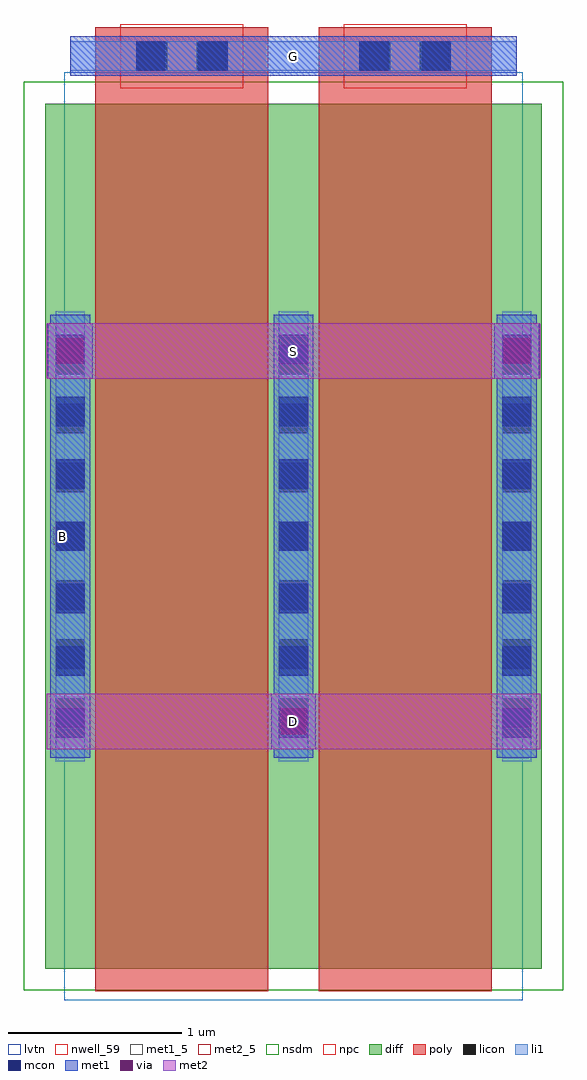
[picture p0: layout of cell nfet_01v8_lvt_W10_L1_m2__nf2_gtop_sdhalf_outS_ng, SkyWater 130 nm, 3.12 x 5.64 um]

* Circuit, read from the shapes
.subckt nfet_01v8_lvt_W10_L1_m2__nf2_gtop_sdhalf_outS_ng B D G S
XM1 D G S B sky130_fd_pr__nfet_01v8_lvt w=5 l=1 m=2
.ends

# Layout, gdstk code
import gdstk
lib = gdstk.Library(unit=1e-6, precision=1e-09)
def R(c, l, rs):  # rectangles x0, y0, x1, y1
    for r in rs: c.add(gdstk.rectangle(r[:2], r[2:], *l))
def A(c, l, x, y, w, h, nx, ny, dx, dy):  # array of equal rectangles
    R(c, l, [(x+i*dx, y+j*dy, x+i*dx+w, y+j*dy+h) for i in range(nx) for j in range(ny)])
nwell_59 = (64, 59)
diff = (65, 20)
poly = (66, 20)
licon = (66, 44)
li1 = (67, 20)
mcon = (67, 44)
met1_5 = (68, 5)
met1 = (68, 20)
via = (68, 44)
met2_5 = (69, 5)
met2 = (69, 20)
nsdm = (93, 44)
npc = (95, 20)
lvtn = (125, 44)

sky130_fd_pr__nfet_01v8_ = lib.new_cell('sky130_fd_pr__nfet_01v8_lvt_LUTFXC')
R(sky130_fd_pr__nfet_01v8_, diff, [(-1.435,-2.655,1.435,2.345)])
R(sky130_fd_pr__nfet_01v8_, poly, [(-1.145,-2.785,-0.145,2.785), (0.145,-2.785,1.145,2.785)])
A(sky130_fd_pr__nfet_01v8_, licon, -1.375, -1.26, 0.17, 0.17, 3, 7, 1.29, 0.34)
R(sky130_fd_pr__nfet_01v8_, licon, [(-0.9,2.535,-0.73,2.705), (-0.56,2.535,-0.39,2.705), (0.39,2.535,0.56,2.705), (0.73,2.535,0.9,2.705)])
A(sky130_fd_pr__nfet_01v8_, li1, -1.375, -1.455, 0.17, 2.6, 3, 1, 1.29, 0)
R(sky130_fd_pr__nfet_01v8_, li1, [(-1.29,2.535,1.29,2.705)])
A(sky130_fd_pr__nfet_01v8_, mcon, -1.375, -1.32, 0.17, 0.17, 3, 7, 1.29, 0.36)
R(sky130_fd_pr__nfet_01v8_, mcon, [(-0.91,2.535,-0.74,2.705), (-0.55,2.535,-0.38,2.705), (0.38,2.535,0.55,2.705), (0.74,2.535,0.91,2.705)])
A(sky130_fd_pr__nfet_01v8_, met1, -1.405, -1.435, 0.23, 2.56, 3, 1, 1.29, 0)
R(sky130_fd_pr__nfet_01v8_, met1, [(-1.125,2.505,-0.165,2.535), (0.165,2.505,1.125,2.535), (-1.29,2.535,1.29,2.705), (-1.125,2.705,-0.165,2.735), (0.165,2.705,1.125,2.735)])
R(sky130_fd_pr__nfet_01v8_, nsdm, [(-1.56,-2.78,1.56,2.47)])
R(sky130_fd_pr__nfet_01v8_, npc, [(-1,2.435,-0.29,2.805), (0.29,2.435,1,2.805)])
R(sky130_fd_pr__nfet_01v8_, lvtn, [(-1.325,-2.835,1.325,2.525)])
sky130_fd_pr__nfet_01v8_.add(gdstk.Label('D0', (-1.29,-0.155), layer=67, texttype=5))
sky130_fd_pr__nfet_01v8_.add(gdstk.Label('G', (0.645,2.62), layer=67, texttype=5))
sky130_fd_pr__nfet_01v8_.add(gdstk.Label('G', (-0.645,2.62), layer=67, texttype=5))
sky130_fd_pr__nfet_01v8_.add(gdstk.Label('S1', (0,-0.155), layer=67, texttype=5))

nfet_01v8_lvt_w10_l1_m2_ = lib.new_cell('nfet_01v8_lvt_W10_L1_m2__nf2_gtop_sdhalf_outS_ng')
R(nfet_01v8_lvt_w10_l1_m2_, nwell_59, [(0.05,2.58,0.15,2.68)])
R(nfet_01v8_lvt_w10_l1_m2_, met1_5, [(0.145,5.29,2.725,5.52)])
R(nfet_01v8_lvt_w10_l1_m2_, met1, [(1.305,1.4,1.565,1.72), (0.015,3.54,0.275,3.86), (2.595,3.54,2.855,3.86), (0.145,5.29,2.725,5.52)])
R(nfet_01v8_lvt_w10_l1_m2_, via, [(1.36,1.485,1.51,1.635), (0.07,3.625,0.22,3.775), (2.65,3.625,2.8,3.775)])
R(nfet_01v8_lvt_w10_l1_m2_, met2_5, [(0.01,1.4,2.86,1.72), (0.01,3.54,2.86,3.86)])
R(nfet_01v8_lvt_w10_l1_m2_, met2, [(0.01,1.4,2.86,1.72), (0.01,3.54,2.86,3.86)])
nfet_01v8_lvt_w10_l1_m2_.add(gdstk.Reference(sky130_fd_pr__nfet_01v8_, (1.435,2.785)))
nfet_01v8_lvt_w10_l1_m2_.add(gdstk.Label('S', (1.435,3.7), layer=69, texttype=5))
nfet_01v8_lvt_w10_l1_m2_.add(gdstk.Label('D', (1.435,1.56), layer=69, texttype=5))
nfet_01v8_lvt_w10_l1_m2_.add(gdstk.Label('G', (1.435,5.405), layer=68, texttype=5))
nfet_01v8_lvt_w10_l1_m2_.add(gdstk.Label('B', (0.1,2.63), layer=64, texttype=59))

lib.write_gds('nfet_01v8_lvt_W10_L1_m2__nf2_gtop_sdhalf_outS_ng.gds')
